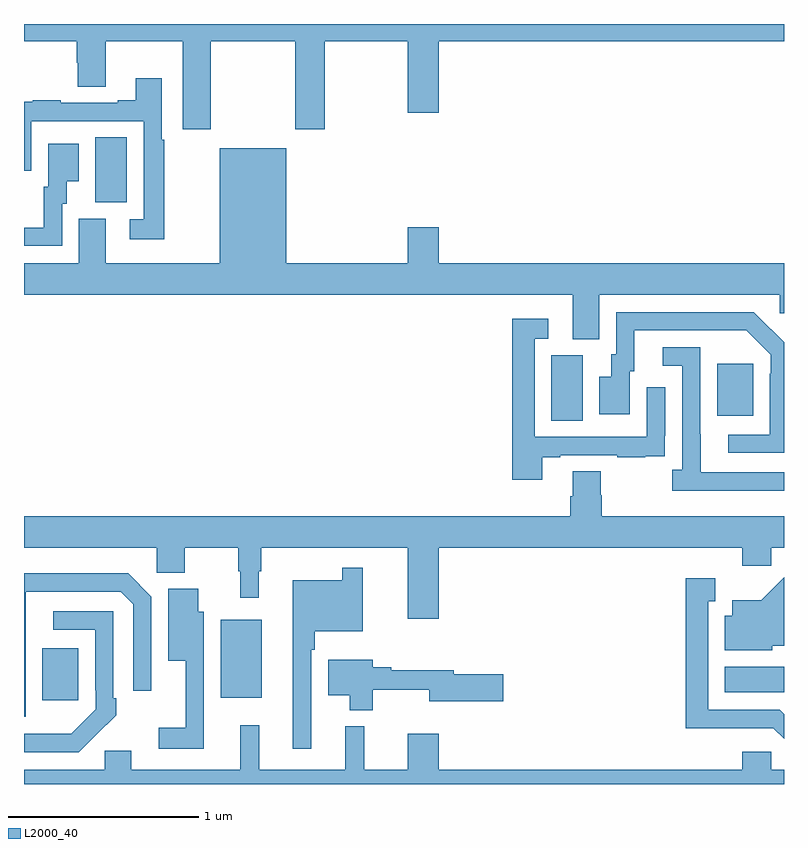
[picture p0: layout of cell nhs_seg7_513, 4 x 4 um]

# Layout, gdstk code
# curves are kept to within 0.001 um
import gdstk
lib = gdstk.Library(unit=1e-6, precision=1e-09)
def R(c, l, rs):  # rectangles x0, y0, x1, y1
    for r in rs: c.add(gdstk.rectangle(r[:2], r[2:], *l))
def P(c, l, *ps):  # polygons
    for p in ps: c.add(gdstk.Polygon(p, *l))
L2000_40 = (2000, 40)

nhs_seg7_513 = lib.new_cell('nhs_seg7_513')
R(nhs_seg7_513, L2000_40, [(151.097,1038.441,151.285,1038.715), (152.036,1038.455,152.251,1038.865), (154.688,1038.482,155,1038.616), (153.776,1039.912,153.94,1040.256), (154.649,1039.937,154.837,1040.212), (151.376,1041.061,151.54,1041.404)])
P(nhs_seg7_513, L2000_40, [(151.983,1041.908),(152.428,1041.908),(152.428,1041.447),(152.583,1041.447),(152.583,1041.908),(153.02,1041.908),(153.02,1041.534),(153.184,1041.534),(153.184,1041.908),(155,1041.908),(155,1042),(151,1042),(151,1041.908),(151.277,1041.908),(151.277,1041.795),(151.282,1041.795),(151.282,1041.67),(151.429,1041.67),(151.429,1041.908),(151.835,1041.908),(151.835,1041.447),(151.983,1041.447)],
  [(151.738,1041.392),(151.725,1041.392),(151.725,1041.715),(151.589,1041.715),(151.589,1041.598),(151.493,1041.598),(151.493,1041.585),(151.193,1041.585),(151.193,1041.598),(151.045,1041.598),(151.045,1041.591),(151,1041.591),(151,1041.228),(151.038,1041.228),(151.038,1041.489),(151.629,1041.489),(151.629,1040.973),(151.557,1040.973),(151.557,1040.868),(151.738,1040.868)],
  [(151.2,1041.054),(151.225,1041.054),(151.225,1041.173),(151.288,1041.173),(151.288,1041.37),(151.127,1041.37),(151.127,1041.144),(151.103,1041.144),(151.103,1040.928),(151,1040.928),(151,1040.832),(151.2,1040.832)],
  [(154.027,1040.576),(154.977,1040.576),(154.977,1040.478),(155,1040.478),(155,1040.74),(153.184,1040.74),(153.184,1040.929),(153.02,1040.929),(153.02,1040.74),(152.38,1040.74),(152.38,1041.346),(152.03,1041.346),(152.03,1040.74),(151.429,1040.74),(151.429,1040.976),(151.289,1040.976),(151.289,1040.74),(151,1040.74),(151,1040.576),(153.887,1040.576),(153.887,1040.341),(154.027,1040.341)],
  [(155,1040.326),(154.84,1040.484),(154.116,1040.484),(154.116,1040.262),(154.091,1040.262),(154.091,1040.143),(154.028,1040.143),(154.028,1039.947),(154.189,1039.947),(154.189,1040.172),(154.213,1040.172),(154.213,1040.388),(154.801,1040.388),(154.929,1040.259),(154.929,1040.159),(154.926,1040.159),(154.926,1039.839),(154.707,1039.839),(154.707,1039.743),(155,1039.743)],
  [(153.727,1039.719),(153.823,1039.719),(153.823,1039.731),(154.123,1039.731),(154.123,1039.719),(154.271,1039.719),(154.271,1039.725),(154.373,1039.725),(154.373,1039.834),(154.374,1039.834),(154.374,1040.089),(154.278,1040.089),(154.278,1039.827),(153.687,1039.827),(153.687,1040.343),(153.76,1040.343),(153.76,1040.449),(153.571,1040.449),(153.571,1039.602),(153.727,1039.602)],
  [(155,1039.641),(154.561,1039.641),(154.561,1039.841),(154.56,1039.841),(154.56,1040.298),(154.362,1040.298),(154.362,1040.202),(154.464,1040.202),(154.464,1039.654),(154.413,1039.654),(154.413,1039.544),(155,1039.544)],
  [(153.184,1039.244),(154.781,1039.244),(154.781,1039.149),(154.932,1039.149),(154.932,1039.244),(155,1039.244),(155,1039.408),(154.04,1039.408),(154.04,1039.521),(154.035,1039.521),(154.035,1039.646),(153.887,1039.646),(153.887,1039.514),(153.875,1039.514),(153.875,1039.408),(151,1039.408),(151,1039.244),(151.698,1039.244),(151.698,1039.113),(151.845,1039.113),(151.845,1039.244),(152.127,1039.244),(152.127,1039.121),(152.137,1039.121),(152.137,1038.981),(152.236,1038.981),(152.236,1039.121),(152.248,1039.121),(152.248,1039.244),(153.02,1039.244),(153.02,1038.87),(153.184,1038.87)],
  [(152.511,1038.707),(152.531,1038.707),(152.531,1038.803),(152.784,1038.803),(152.784,1039.138),(152.676,1039.138),(152.676,1039.072),(152.414,1039.072),(152.414,1038.186),(152.511,1038.186)],
  [(151.008,1038.811),(151.009,1038.811),(151.009,1039.011),(151.509,1039.011),(151.575,1038.945),(151.575,1038.492),(151.671,1038.492),(151.671,1038.985),(151.548,1039.108),(151,1039.108),(151,1038.354),(151.008,1038.354)],
  [(154.938,1038.728),(155,1038.728),(155,1039.087),(154.982,1039.069),(154.879,1038.967),(154.727,1038.967),(154.727,1038.886),(154.688,1038.886),(154.688,1038.704),(154.938,1038.704)],
  [(155,1038.367),(154.977,1038.39),(154.6,1038.39),(154.6,1038.963),(154.639,1038.963),(154.639,1039.084),(154.482,1039.084),(154.482,1038.293),(154.722,1038.293),(154.722,1038.294),(154.944,1038.294),(155,1038.238)],
  [(151.947,1038.907),(151.918,1038.907),(151.918,1039.027),(151.76,1039.027),(151.76,1038.65),(151.85,1038.65),(151.85,1038.295),(151.71,1038.295),(151.71,1038.186),(151.947,1038.186)],
  [(151.379,1038.259),(151.38,1038.258),(151.485,1038.363),(151.485,1038.451),(151.47,1038.451),(151.47,1038.909),(151.155,1038.909),(151.155,1038.813),(151.374,1038.813),(151.374,1038.493),(151.377,1038.493),(151.377,1038.393),(151.249,1038.265),(151,1038.264),(151,1038.168),(151.288,1038.168)],
  [(152.836,1038.496),(153.134,1038.496),(153.134,1038.436),(153.523,1038.436),(153.523,1038.578),(153.262,1038.578),(153.262,1038.599),(152.932,1038.599),(152.932,1038.614),(152.836,1038.614),(152.836,1038.655),(152.6,1038.655),(152.6,1038.467),(152.714,1038.467),(152.714,1038.389),(152.836,1038.389)],
  [(155,1038.076),(154.932,1038.076),(154.932,1038.169),(154.781,1038.169),(154.781,1038.076),(153.184,1038.076),(153.184,1038.265),(153.02,1038.265),(153.02,1038.076),(152.79,1038.076),(152.79,1038.304),(152.69,1038.304),(152.69,1038.076),(152.237,1038.076),(152.237,1038.31),(152.138,1038.31),(152.138,1038.076),(151.564,1038.076),(151.564,1038.174),(151.425,1038.174),(151.425,1038.076),(151,1038.076),(151,1038),(155,1038)])

lib.write_gds('nhs_seg7_513.gds')
